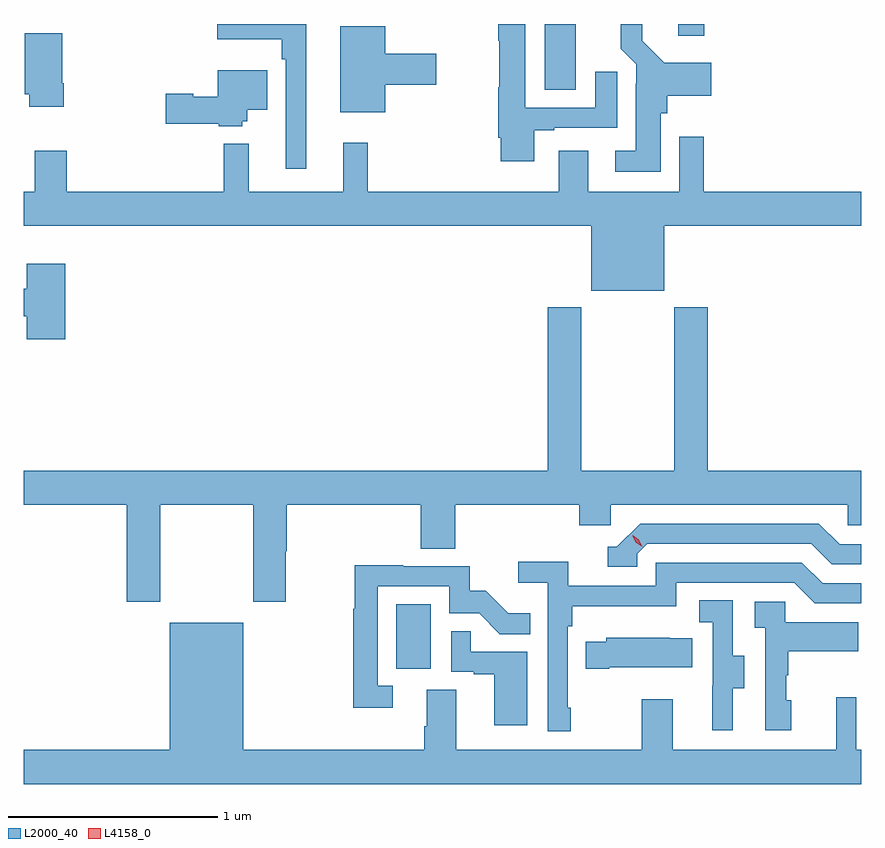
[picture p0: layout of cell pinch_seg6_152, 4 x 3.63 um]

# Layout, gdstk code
import gdstk
lib = gdstk.Library(unit=1e-6, precision=1e-09)
def R(c, l, rs):  # rectangles x0, y0, x1, y1
    for r in rs: c.add(gdstk.rectangle(r[:2], r[2:], *l))
def P(c, l, *ps):  # polygons
    for p in ps: c.add(gdstk.Polygon(p, *l))
L2000_40 = (2000, 40)
L4158_0 = (4158, 0)

pinch_seg6_152 = lib.new_cell('pinch_seg6_152')
R(pinch_seg6_152, L2000_40, [(973.4,926.574,973.564,926.881), (974.108,929.338,974.257,929.652), (974.747,929.595,974.87,929.652)])
P(pinch_seg6_152, L2000_40, [(972.97,929.652),(972.546,929.652),(972.546,929.579),(972.853,929.579),(972.853,929.483),(972.873,929.483),(972.873,928.962),(972.97,928.962)],
  [(974.662,929.226),(974.693,929.226),(974.693,929.309),(974.905,929.309),(974.905,929.467),(974.676,929.467),(974.676,929.47),(974.575,929.572),(974.575,929.652),(974.473,929.652),(974.473,929.534),(974.547,929.46),(974.547,929.366),(974.543,929.366),(974.543,929.047),(974.445,929.047),(974.445,928.946),(974.662,928.946)],
  [(974.059,929.145),(974.155,929.145),(974.155,929.157),(974.455,929.157),(974.455,929.425),(974.351,929.425),(974.351,929.253),(974.017,929.253),(974.017,929.652),(973.886,929.652),(973.886,929.572),(973.891,929.572),(973.891,929.35),(973.886,929.35),(973.886,929.11),(973.898,929.11),(973.898,928.998),(974.059,928.998)],
  [(973.348,929.363),(973.591,929.363),(973.591,929.51),(973.348,929.51),(973.348,929.641),(973.133,929.641),(973.133,929.231),(973.348,929.231)],
  [(971.814,929.368),(971.806,929.368),(971.806,929.608),(971.627,929.608),(971.627,929.316),(971.648,929.316),(971.648,929.256),(971.814,929.256)],
  [(972.666,929.187),(972.688,929.187),(972.688,929.243),(972.784,929.243),(972.784,929.431),(972.548,929.431),(972.548,929.305),(972.432,929.305),(972.432,929.318),(972.3,929.318),(972.3,929.176),(972.552,929.176),(972.552,929.165),(972.666,929.165)],
  [(974.68,928.688),(975.621,928.688),(975.621,928.852),(974.867,928.852),(974.867,929.113),(974.751,929.113),(974.751,928.852),(974.317,928.852),(974.317,929.047),(974.177,929.047),(974.177,928.852),(973.265,928.852),(973.265,929.086),(973.148,929.086),(973.148,928.852),(972.695,928.852),(972.695,929.08),(972.577,929.08),(972.577,928.852),(971.828,928.852),(971.828,929.047),(971.675,929.047),(971.675,928.852),(971.621,928.852),(971.621,928.688),(974.33,928.688),(974.33,928.379),(974.68,928.379)],
  [(971.819,928.507),(971.636,928.507),(971.636,928.387),(971.621,928.387),(971.621,928.258),(971.636,928.258),(971.636,928.146),(971.819,928.146)],
  [(972.273,927.356),(972.718,927.356),(972.718,926.895),(972.873,926.895),(972.873,927.134),(972.878,927.134),(972.878,927.356),(973.517,927.356),(973.517,927.148),(973.682,927.148),(973.682,927.356),(974.273,927.356),(974.273,927.258),(974.424,927.258),(974.424,927.356),(975.555,927.356),(975.555,927.258),(975.621,927.258),(975.621,927.52),(974.888,927.52),(974.888,928.3),(974.728,928.3),(974.728,927.52),(974.283,927.52),(974.283,928.3),(974.123,928.3),(974.123,927.52),(971.621,927.52),(971.621,927.356),(972.113,927.356),(972.113,926.895),(972.273,926.895)],
  [(974.55,927.123),(974.598,927.171),(975.381,927.171),(975.48,927.072),(975.621,927.072),(975.621,927.168),(975.517,927.168),(975.418,927.267),(974.565,927.267),(974.454,927.156),(974.411,927.156),(974.411,927.06),(974.55,927.06)],
  [(974.233,926.389),(974.22,926.389),(974.22,926.777),(974.24,926.777),(974.24,926.873),(974.736,926.873),(974.736,926.985),(975.3,926.985),(975.399,926.886),(975.621,926.886),(975.621,926.982),(975.436,926.982),(975.337,927.081),(974.64,927.081),(974.64,926.97),(974.222,926.97),(974.222,927.086),(973.983,927.086),(973.983,926.984),(974.124,926.984),(974.124,926.277),(974.233,926.277)],
  [(973.384,926.493),(973.311,926.493),(973.311,926.967),(973.653,926.967),(973.653,926.838),(973.797,926.838),(973.895,926.74),(974.039,926.74),(974.039,926.839),(973.935,926.839),(973.828,926.946),(973.752,926.946),(973.752,927.063),(973.433,927.063),(973.433,927.068),(973.203,927.068),(973.203,926.86),(973.195,926.86),(973.195,926.388),(973.384,926.388)],
  [(975.007,926.482),(975.061,926.482),(975.061,926.637),(975.006,926.637),(975.006,926.9),(974.847,926.9),(974.847,926.797),(974.91,926.797),(974.91,926.493),(974.909,926.493),(974.909,926.28),(975.007,926.28)],
  [(975.286,926.424),(975.261,926.424),(975.261,926.543),(975.271,926.543),(975.271,926.657),(975.605,926.657),(975.605,926.797),(975.258,926.797),(975.258,926.895),(975.111,926.895),(975.111,926.771),(975.162,926.771),(975.162,926.28),(975.286,926.28)],
  [(975.621,926.188),(975.597,926.188),(975.597,926.437),(975.5,926.437),(975.5,926.188),(974.719,926.188),(974.719,926.428),(974.572,926.428),(974.572,926.188),(973.687,926.188),(973.687,926.474),(973.547,926.474),(973.547,926.3),(973.535,926.3),(973.535,926.188),(972.67,926.188),(972.67,926.794),(972.32,926.794),(972.32,926.188),(971.621,926.188),(971.621,926.024),(975.621,926.024)],
  [(974.026,926.655),(973.757,926.655),(973.757,926.753),(973.662,926.753),(973.662,926.559),(973.769,926.559),(973.769,926.547),(973.868,926.547),(973.868,926.304),(974.026,926.304)],
  [(974.416,926.582),(974.813,926.582),(974.813,926.719),(974.705,926.719),(974.705,926.722),(974.403,926.722),(974.403,926.704),(974.305,926.704),(974.305,926.575),(974.416,926.575)])
P(pinch_seg6_152, L4158_0, [(974.574,927.157),(974.544,927.177),(974.528,927.21),(974.528,927.211),(974.529,927.211),(974.559,927.19),(974.574,927.157),(974.574,927.157)])

lib.write_gds('pinch_seg6_152.gds')
